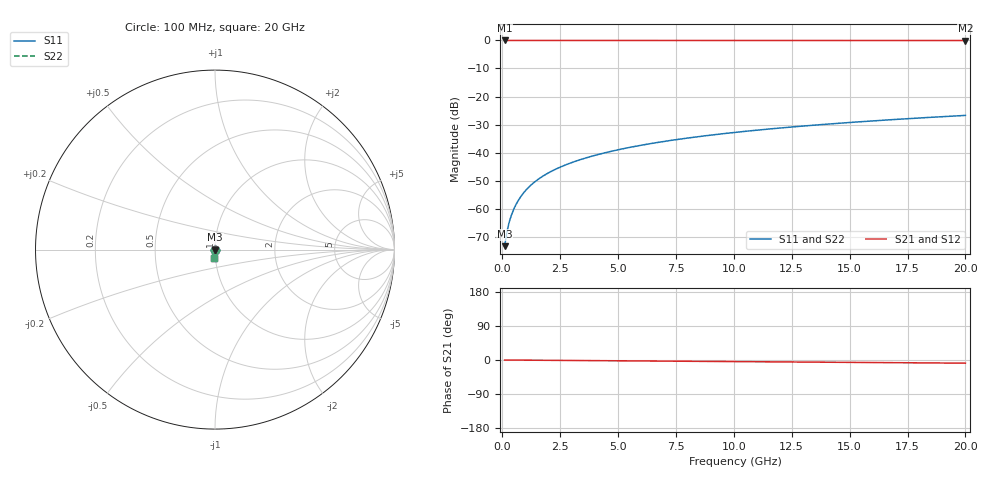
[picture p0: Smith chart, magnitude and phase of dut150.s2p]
! Touchstone file exported from HFSS 2026.1.0
!  File:  C:/ffzhzh/LocalFiles/Ansys_Project_Files/temp_train_TSV_150_1782990577_6248.aedt
!  Generated:  07:10:51 PM Jul  2, 2026
!  Design:  TSV
!  Project:  temp_train_TSV_150_1782990577_6248
! Variables:
!  h_bsmrdl = 2um
!  h_ox = 20um
!  h_rdl = 5um
!  h_sub = 83.32um
!  h_tmrdl = 5um
!  h_tsv = 83.32um
!  h_via = 3um
!  l_bsmrdl = 300um
!  l_sub = 422.84um
!  l_tmrdl = 200um
!  m_sub = 200um
!  pitch = 34.51um
!  r_tsv = 11.42um
!  s_tmrdl = 10um
!  w_bsmrdl = 18um
!  w_sub = 500um
!  w_tmrdl = 12um
!  x_tsv_center1 = 206um
!  x_tsv_center2 = 524um
!  x_tsv_center3 = 736um
!  x_tsv_center4 = 1054um
!  x_tsv_center5 = 1266um
!  x_tsv_center6 = 1584um
# GHz S MA R 50.000000
! Terminal data exported
! Port[1] = TSV1_1_T1
! Port[2] = TSV1_1_T2
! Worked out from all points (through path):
!   200 points, 100 MHz to 20 GHz, reference 50 ohm
!   highest |S21| = 0.00 dB at 100 MHz (marker M1); lowest = 0.0 dB at 20 GHz (marker M2)
!   group delay of S21, straight-line fit = 1.16 ps
!   lowest |S11| = -73.4 dB at 100 MHz (marker M3), VSWR 1.00, Z = 50 - j0.0181 ohm
!   |S11| at or under -10 dB: start of sweep to end of sweep
!   |S22| runs from -73.4 to -26.7 dB; largest |S21 - S12| = 2.7e-15
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0.1  0.0002141 -57.6  0.9999 -0.0  0.9999 -0.0  0.0002141 -57.6
! Gamma 0 0 0 0
! Port Impedance 50 0 50 0
0.2  0.000388 -70.4  0.9999 -0.1  0.9999 -0.1  0.000388 -70.4
0.3  0.0005778 -74.7  0.9998 -0.1  0.9998 -0.1  0.0005778 -74.7
0.4  0.000778 -76.7  0.9998 -0.2  0.9998 -0.2  0.000778 -76.7
0.5  0.0009863 -78.0  0.9998 -0.2  0.9998 -0.2  0.0009863 -78.0
0.7  0.00142 -79.7  0.9997 -0.3  0.9997 -0.3  0.00142 -79.7
0.8  0.001642 -80.4  0.9997 -0.3  0.9997 -0.3  0.001642 -80.4
1  0.002092 -81.5  0.9997 -0.4  0.9997 -0.4  0.002092 -81.5
1.2  0.002546 -82.5  0.9996 -0.5  0.9996 -0.5  0.002546 -82.5
1.4  0.003 -83.3  0.9996 -0.6  0.9996 -0.6  0.003 -83.3
1.7  0.003682 -84.3  0.9996 -0.7  0.9996 -0.7  0.003682 -84.3
2  0.004363 -85.1  0.9995 -0.9  0.9995 -0.9  0.004363 -85.1
2.7  0.005954 -86.4  0.9995 -1.1  0.9995 -1.1  0.005954 -86.4
3.5  0.007777 -87.4  0.9994 -1.5  0.9994 -1.5  0.007777 -87.4
4.2  0.009378 -88.0  0.9993 -1.8  0.9993 -1.8  0.009378 -88.0
5  0.01122 -88.7  0.9993 -2.1  0.9993 -2.1  0.01122 -88.7
6.8  0.01537 -89.9  0.9991 -2.9  0.9991 -2.9  0.01537 -89.9
8.3  0.01885 -90.8  0.9989 -3.5  0.9989 -3.5  0.01885 -90.8
10.1  0.02303 -91.8  0.9988 -4.2  0.9988 -4.2  0.02303 -91.8
13.4  0.03069 -93.5  0.9984 -5.6  0.9984 -5.6  0.03069 -93.5
16.7  0.03836 -95.1  0.998 -7.0  0.998 -7.0  0.03836 -95.1
20  0.04602 -96.6  0.9976 -8.3  0.9976 -8.3  0.04602 -96.6
